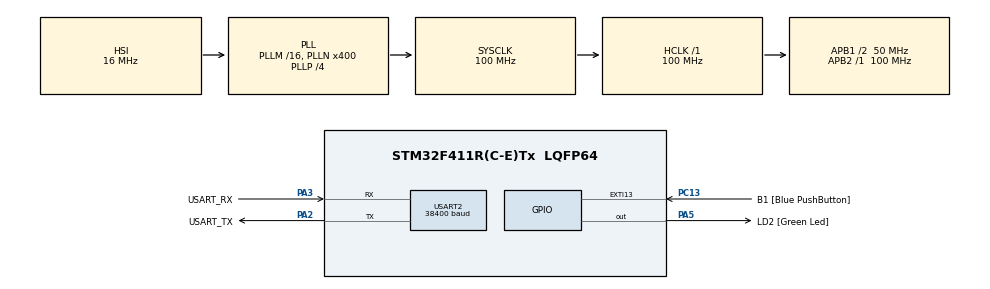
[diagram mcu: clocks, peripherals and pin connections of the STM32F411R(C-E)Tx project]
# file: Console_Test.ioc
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Mcu.Family=STM32F4
Mcu.Name=STM32F411R(C-E)Tx
Mcu.Package=LQFP64
NVIC.PriorityGroup=NVIC_PRIORITYGROUP_0
NVIC.USART2_IRQn=true\:0\:0\:false\:false\:true\:true
PA13.GPIO_Label=TMS
PA13.Mode=Serial_Wire
PA13.Signal=SYS_JTMS-SWDIO
PA14.GPIO_Label=TCK
PA14.Mode=Serial_Wire
PA14.Signal=SYS_JTCK-SWCLK
PA2.GPIO_Label=USART_TX
PA2.Mode=Asynchronous
PA2.Signal=USART2_TX
PA3.GPIO_Label=USART_RX
PA3.Mode=Asynchronous
PA3.Signal=USART2_RX
PA5.GPIO_Label=LD2 [Green Led]
PA5.Signal=GPIO_Output
PB3.GPIO_Label=SWO
PB3.Signal=SYS_JTDO-SWO
PC13-ANTI_TAMP.GPIO_Label=B1 [Blue PushButton]
PC13-ANTI_TAMP.GPIO_ModeDefaultEXTI=GPIO_MODE_IT_FALLING
PC13-ANTI_TAMP.Signal=GPXTI13
PC14-OSC32_IN.Mode=LSE-External-Oscillator
PC14-OSC32_IN.Signal=RCC_OSC32_IN
PC15-OSC32_OUT.Mode=LSE-External-Oscillator
PC15-OSC32_OUT.Signal=RCC_OSC32_OUT
PH0\ -\ OSC_IN.Mode=HSE-External-Clock-Source
PH0\ -\ OSC_IN.Signal=RCC_OSC_IN
PH1\ -\ OSC_OUT.Mode=HSE-External-Clock-Source
PH1\ -\ OSC_OUT.Signal=RCC_OSC_OUT
ProjectManager.HeapSize=0x200
ProjectManager.StackSize=0x400
ProjectManager.TargetToolchain=SW4STM32
RCC.48MHZClocksFreq_Value=100000000
RCC.AHBFreq_Value=100000000
RCC.APB1CLKDivider=RCC_HCLK_DIV2
RCC.APB1Freq_Value=50000000
RCC.APB1TimFreq_Value=100000000
RCC.APB2Freq_Value=100000000
RCC.APB2TimFreq_Value=100000000
RCC.CortexFreq_Value=100000000
RCC.FLatency-AdvancedSettings=FLASH_LATENCY_3
RCC.HCLKFreq_Value=100000000
RCC.HSE_VALUE=8000000
RCC.HSI_VALUE=16000000
RCC.PLLN=400
RCC.PLLP=RCC_PLLP_DIV4
RCC.SYSCLKFreq_VALUE=100000000
RCC.SYSCLKSource=RCC_SYSCLKSOURCE_PLLCLK
RCC.VCOOutputFreq_Value=400000000
USART2.BaudRate=38400
USART2.Mode=MODE_TX_RX
USART2.VirtualMode=VM_ASYNC
board=NUCLEO-F411RE

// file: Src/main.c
/* USER CODE BEGIN Header */
/*   MIT License
*
*    Copyright (c) 2019 Timothy Pansino, Adam Behnke, Zachary Neumann, Mitchell Keeney
*
*    Permission is hereby granted, free of charge, to any person obtaining a copy
*    of this software and associated documentation files (the "Software"), to deal
*    in the Software without restriction, including without limitation the rights
*    to use, copy, modify, merge, publish, distribute, sublicense, and/or sell
*    copies of the Software, and to permit persons to whom the Software is
*    furnished to do so, subject to the following conditions:
*
*    The above copyright notice and this permission notice shall be included in all
*    copies or substantial portions of the Software.
*
*    THE SOFTWARE IS PROVIDED "AS IS", WITHOUT WARRANTY OF ANY KIND, EXPRESS OR
*    IMPLIED, INCLUDING BUT NOT LIMITED TO THE WARRANTIES OF MERCHANTABILITY,
*    FITNESS FOR A PARTICULAR PURPOSE AND NONINFRINGEMENT. IN NO EVENT SHALL THE
*    AUTHORS OR COPYRIGHT HOLDERS BE LIABLE FOR ANY CLAIM, DAMAGES OR OTHER
*    LIABILITY, WHETHER IN AN ACTION OF CONTRACT, TORT OR OTHERWISE, ARISING FROM,
*    OUT OF OR IN CONNECTION WITH THE SOFTWARE OR THE USE OR OTHER DEALINGS IN THE
*    SOFTWARE.
*/
/**
  ******************************************************************************
  * @file           : main.c
  * @brief          : Main program body
  ******************************************************************************
  ** This notice applies to any and all portions of this file
  * that are not between comment pairs USER CODE BEGIN and
  * USER CODE END. Other portions of this file, whether
  * inserted by the user or by software development tools
  * are owned by their respective copyright owners.
  *
  * COPYRIGHT(c) 2019 STMicroelectronics
  *
  * Redistribution and use in source and binary forms, with or without modification,
  * are permitted provided that the following conditions are met:
  *   1. Redistributions of source code must retain the above copyright notice,
  *      this list of conditions and the following disclaimer.
  *   2. Redistributions in binary form must reproduce the above copyright notice,
  *      this list of conditions and the following disclaimer in the documentation
  *      and/or other materials provided with the distribution.
  *   3. Neither the name of STMicroelectronics nor the names of its contributors
  *      may be used to endorse or promote products derived from this software
  *      without specific prior written permission.
  *
  * THIS SOFTWARE IS PROVIDED BY THE COPYRIGHT HOLDERS AND CONTRIBUTORS "AS IS"
  * AND ANY EXPRESS OR IMPLIED WARRANTIES, INCLUDING, BUT NOT LIMITED TO, THE
  * IMPLIED WARRANTIES OF MERCHANTABILITY AND FITNESS FOR A PARTICULAR PURPOSE ARE
  * DISCLAIMED. IN NO EVENT SHALL THE COPYRIGHT HOLDER OR CONTRIBUTORS BE LIABLE
  * FOR ANY DIRECT, INDIRECT, INCIDENTAL, SPECIAL, EXEMPLARY, OR CONSEQUENTIAL
  * DAMAGES (INCLUDING, BUT NOT LIMITED TO, PROCUREMENT OF SUBSTITUTE GOODS OR
  * SERVICES; LOSS OF USE, DATA, OR PROFITS; OR BUSINESS INTERRUPTION) HOWEVER
  * CAUSED AND ON ANY THEORY OF LIABILITY, WHETHER IN CONTRACT, STRICT LIABILITY,
  * OR TORT (INCLUDING NEGLIGENCE OR OTHERWISE) ARISING IN ANY WAY OUT OF THE USE
  * OF THIS SOFTWARE, EVEN IF ADVISED OF THE POSSIBILITY OF SUCH DAMAGE.
  *
  ******************************************************************************
  */
/* USER CODE END Header */

#include "main.h"

/* USER CODE BEGIN Includes */
#include <stdarg.h>
#include <string.h>
#include "pieces.h"
#include "drivers.h"
#include "debug.h"
#include "chess.h"

/* USER CODE END Includes */

/* USER CODE BEGIN PD */
#define CLEAR_TERMINAL "\033[2J\033[H"
#define TIMEOUT 10000
/* USER CODE END PD */

UART_HandleTypeDef huart2;

/* USER CODE BEGIN PV */
char* newlineStr = "\r\n";
char* backSpace = "\b\033[K";
char receiveBuffer[100];
char transmitBuffer[200];
uint8_t receivedData = 0;
int currentLocation = 0;
int dataReceivedFlag = 0;
int new_message = 0;
/* USER CODE END PV */

void SystemClock_Config(void);
static void MX_GPIO_Init(void);
static void MX_USART2_UART_Init(void);
/* USER CODE BEGIN PFP */
void HAL_UART_RxCpltCallback(UART_HandleTypeDef * huart);
char * receiveString(void);
void transmitString(char *);
void Print(const char* format, ...);
void Scan(char* s);
/* USER CODE END PFP */

int main(void)
{
  /* USER CODE BEGIN 1 */
	char s[200];
  /* USER CODE END 1 */

  /* MCU Configuration--------------------------------------------------------*/

  /* Reset of all peripherals, Initializes the Flash interface and the Systick. */
  HAL_Init();

  /* Configure the system clock */
  SystemClock_Config();

  /* Initialize all configured peripherals */
  MX_GPIO_Init();
  MX_USART2_UART_Init();
  /* USER CODE BEGIN 2 */
  Print(CLEAR_TERMINAL);
  Print("Initialized UART.\r\n");
  /* USER CODE END 2 */

  /* Infinite loop */
  /* USER CODE BEGIN WHILE */
  while (1)
  {
	HAL_GPIO_WritePin(GPIOA, GPIO_PIN_5, 1);
	commandLine();

	//commandLine();
    /* USER CODE END WHILE */

  }
}

void SystemClock_Config(void)
{
  RCC_OscInitTypeDef RCC_OscInitStruct = {0};
  RCC_ClkInitTypeDef RCC_ClkInitStruct = {0};

  /**Configure the main internal regulator output voltage
  */
  __HAL_RCC_PWR_CLK_ENABLE();
  __HAL_PWR_VOLTAGESCALING_CONFIG(PWR_REGULATOR_VOLTAGE_SCALE1);
  /**Initializes the CPU, AHB and APB busses clocks
  */
  RCC_OscInitStruct.OscillatorType = RCC_OSCILLATORTYPE_HSI;
  RCC_OscInitStruct.HSIState = RCC_HSI_ON;
  RCC_OscInitStruct.HSICalibrationValue = RCC_HSICALIBRATION_DEFAULT;
  RCC_OscInitStruct.PLL.PLLState = RCC_PLL_ON;
  RCC_OscInitStruct.PLL.PLLSource = RCC_PLLSOURCE_HSI;
  RCC_OscInitStruct.PLL.PLLM = 16;
  RCC_OscInitStruct.PLL.PLLN = 400;
  RCC_OscInitStruct.PLL.PLLP = RCC_PLLP_DIV4;
  RCC_OscInitStruct.PLL.PLLQ = 4;
  if (HAL_RCC_OscConfig(&RCC_OscInitStruct) != HAL_OK)
  {
    Error_Handler();
  }
  /**Initializes the CPU, AHB and APB busses clocks
  */
  RCC_ClkInitStruct.ClockType = RCC_CLOCKTYPE_HCLK|RCC_CLOCKTYPE_SYSCLK
                              |RCC_CLOCKTYPE_PCLK1|RCC_CLOCKTYPE_PCLK2;
  RCC_ClkInitStruct.SYSCLKSource = RCC_SYSCLKSOURCE_PLLCLK;
  RCC_ClkInitStruct.AHBCLKDivider = RCC_SYSCLK_DIV1;
  RCC_ClkInitStruct.APB1CLKDivider = RCC_HCLK_DIV2;
  RCC_ClkInitStruct.APB2CLKDivider = RCC_HCLK_DIV1;

  if (HAL_RCC_ClockConfig(&RCC_ClkInitStruct, FLASH_LATENCY_3) != HAL_OK)
  {
    Error_Handler();
  }
}

static void MX_USART2_UART_Init(void)
{

  huart2.Instance = USART2;
  huart2.Init.BaudRate = 38400;
  huart2.Init.WordLength = UART_WORDLENGTH_8B;
  huart2.Init.StopBits = UART_STOPBITS_1;
  huart2.Init.Parity = UART_PARITY_NONE;
  huart2.Init.Mode = UART_MODE_TX_RX;
  huart2.Init.HwFlowCtl = UART_HWCONTROL_NONE;
  huart2.Init.OverSampling = UART_OVERSAMPLING_16;
  if (HAL_UART_Init(&huart2) != HAL_OK)
  {
    Error_Handler();
  }

}

static void MX_GPIO_Init(void)
{
  GPIO_InitTypeDef GPIO_InitStruct = {0};

  /* GPIO Ports Clock Enable */
  __HAL_RCC_GPIOC_CLK_ENABLE();
  __HAL_RCC_GPIOH_CLK_ENABLE();
  __HAL_RCC_GPIOA_CLK_ENABLE();
  __HAL_RCC_GPIOB_CLK_ENABLE();

  /*Configure GPIO pin Output Level */
  HAL_GPIO_WritePin(LD2_GPIO_Port, LD2_Pin, GPIO_PIN_RESET);

  /*Configure GPIO pin : B1_Pin */
  GPIO_InitStruct.Pin = B1_Pin;
  GPIO_InitStruct.Mode = GPIO_MODE_IT_FALLING;
  GPIO_InitStruct.Pull = GPIO_NOPULL;
  HAL_GPIO_Init(B1_GPIO_Port, &GPIO_InitStruct);

  /*Configure GPIO pin : LD2_Pin */
  GPIO_InitStruct.Pin = LD2_Pin;
  GPIO_InitStruct.Mode = GPIO_MODE_OUTPUT_PP;
  GPIO_InitStruct.Pull = GPIO_NOPULL;
  GPIO_InitStruct.Speed = GPIO_SPEED_FREQ_LOW;
  HAL_GPIO_Init(LD2_GPIO_Port, &GPIO_InitStruct);

}

/* USER CODE BEGIN 4 */
void HAL_UART_RxCpltCallback(UART_HandleTypeDef * huart)
{
    /* Move data into buffer */
    receiveBuffer[currentLocation] = receivedData;

    /* Variable to keep track of location in buffer */
    if (((char)receiveBuffer[currentLocation] == '\n') || ((char)receiveBuffer[currentLocation] == '\r')) {
        HAL_UART_Transmit(&huart2, (uint8_t*) newlineStr, 2, TIMEOUT);
        dataReceivedFlag = 1;
        receiveBuffer[currentLocation] = '\0';
        currentLocation = 0;
    }
    else if (((char)receiveBuffer[currentLocation] == 0x08) || ((char)receiveBuffer[currentLocation] == 0x7F)) {
    	if (currentLocation > 0) {
        	Print(backSpace);
        	receiveBuffer[currentLocation] = '\0';
    		currentLocation--;
    	}
    }
    else {
        HAL_UART_Transmit(&huart2, &receivedData, 1, TIMEOUT);
        currentLocation++;
    }
}

char * receiveString(void) {
    /* Listen for input; print back to screen when fully received */
    while (!dataReceivedFlag) {
        HAL_UART_Receive_IT(&huart2, &receivedData, 1);
    }
    dataReceivedFlag = 0;
    new_message = 1;
    return receiveBuffer;
}

void transmitString(char * s) {
	//int size = 0;
	int i;

	//while(s[size] != '\0') size++;
	for (i = 0; s[i] != '\0'; i++) {
		if (s[i] == '\n') {
			HAL_UART_Transmit(&huart2, (uint8_t*) newlineStr, 2, TIMEOUT);
		}
		else if (s[i] != '\r' && s[i] != '\0') {
			HAL_UART_Transmit(&huart2, (uint8_t*) &s[i], 1, TIMEOUT);
		}
	}
	//HAL_UART_Transmit_IT(&huart2, (uint8_t *) s, size);

	return;
}

void Print(const char* format, ...) {
  va_list args;
  va_start(args, format);
  vsprintf(transmitBuffer, format, args);
  transmitString(transmitBuffer);
  va_end(args);

  return;
}

void Scan(char* s) {
	receiveString();
	strcpy(s, receiveBuffer);

	return;
}

/* USER CODE END 4 */

void Error_Handler(void)
{
}

/************************ (C) COPYRIGHT STMicroelectronics *****END OF FILE****/
